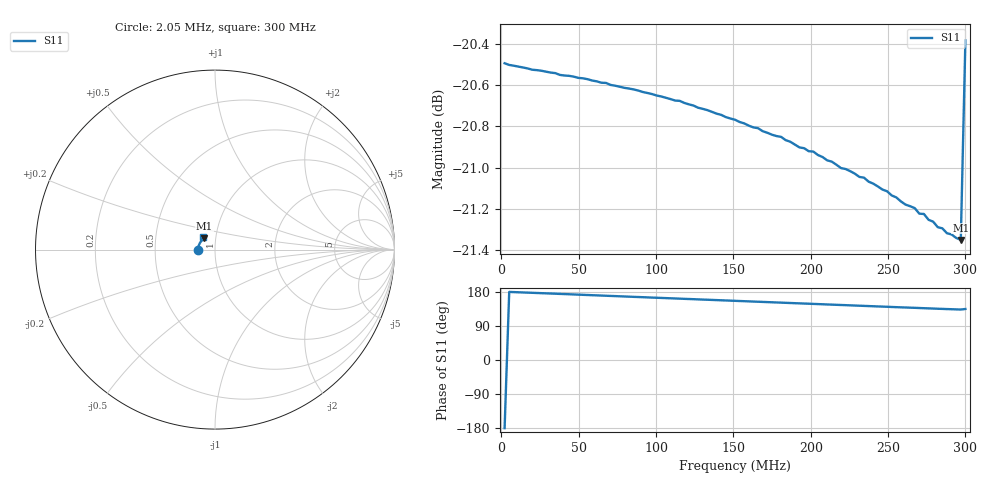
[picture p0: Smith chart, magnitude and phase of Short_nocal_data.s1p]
# Hz S RI R 50
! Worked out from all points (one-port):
!   101 points, 2.05 MHz to 300 MHz, reference 50 ohm
!   lowest |S11| = -21.4 dB at 297 MHz (marker M1), VSWR 1.19, Z = 44.1 + j5.55 ohm
!   |S11| at or under -10 dB: start of sweep to end of sweep
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2050000  -0.0945 -0.000165
4.07835e7  -0.0933 0.00986
7.65375e7  -0.0912 0.0192
1.15271e8  -0.0879 0.0288
1.51025e8  -0.0837 0.037
1.74861e8  -0.0804 0.0422
1.8082e8  -0.0796 0.0435
1.897585e8  -0.0781 0.0452
1.98697e8  -0.0767 0.0469
2.016765e8  -0.0763 0.0476
2.195535e8  -0.0732 0.0509
2.255125e8  -0.0722 0.052
2.314715e8  -0.071 0.0531
2.34451e8  -0.0706 0.0536
2.374305e8  -0.07 0.0541
2.493485e8  -0.0678 0.056
2.612665e8  -0.0654 0.0578
2.64246e8  -0.0649 0.0582
2.672255e8  -0.0644 0.0586
2.70205e8  -0.0637 0.0591
2.731845e8  -0.0632 0.0596
2.76164e8  -0.0625 0.0599
2.791435e8  -0.062 0.0603
2.82123e8  -0.0612 0.0607
2.851025e8  -0.0608 0.0611
2.88082e8  -0.0601 0.0614
2.970205e8  -0.0585 0.0624
3e8  -0.0672 0.0681
